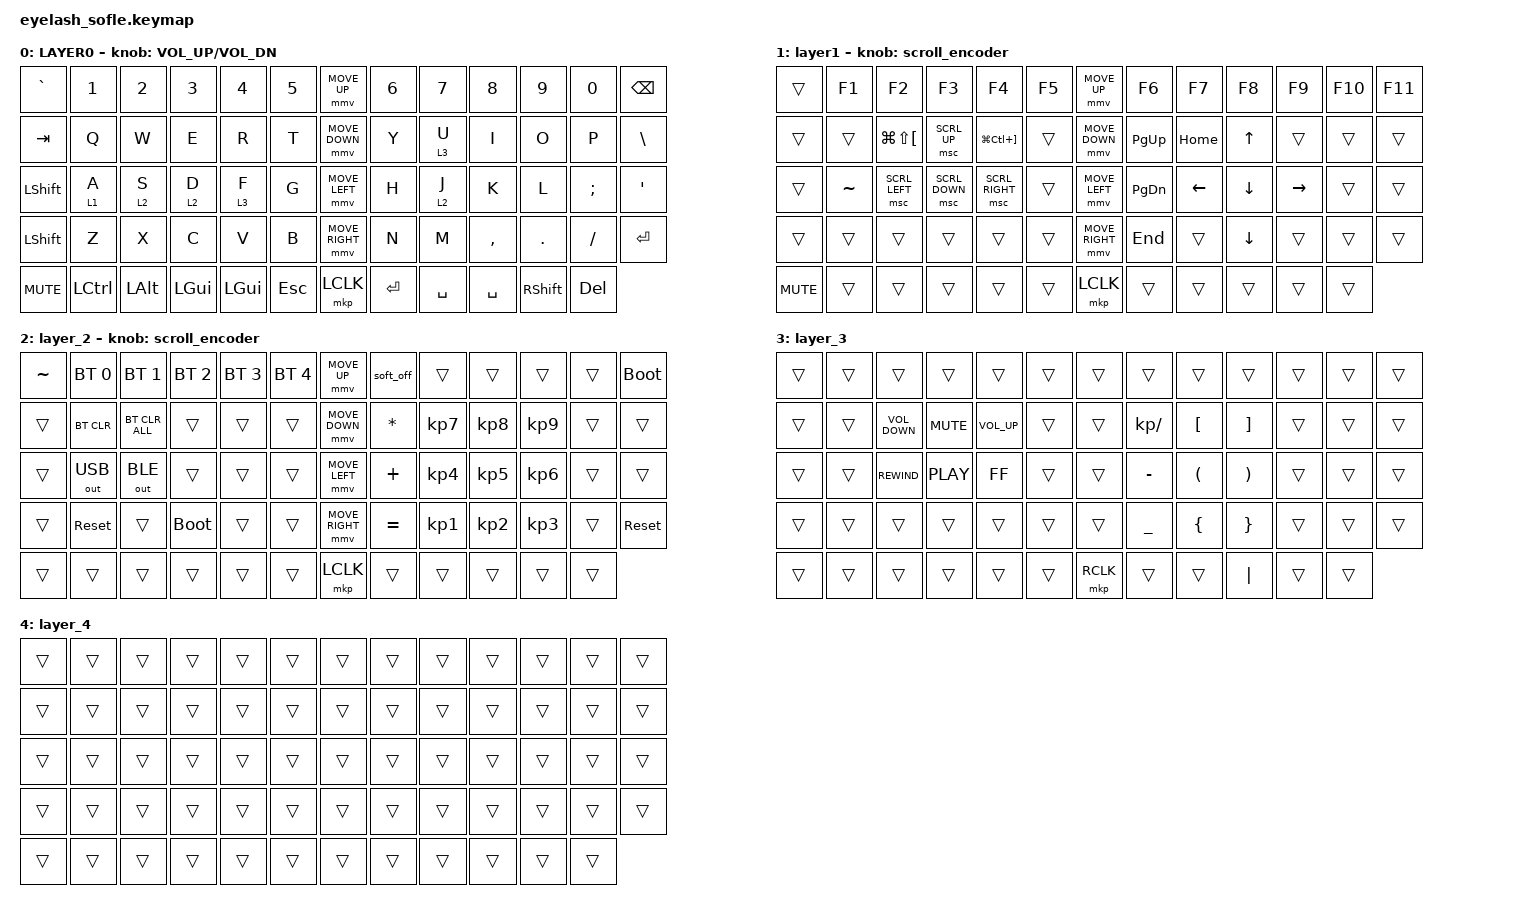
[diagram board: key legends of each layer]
#define ZMK_POINTING_DEFAULT_MOVE_VAL 1200  // 600
#define ZMK_POINTING_DEFAULT_SCRL_VAL 25   // 10

#include <input/processors.dtsi>
#include <zephyr/dt-bindings/input/input-event-codes.h>
#include <behaviors.dtsi>
#include <dt-bindings/zmk/bt.h>
#include <dt-bindings/zmk/keys.h>
#include <dt-bindings/zmk/outputs.h>
#include <dt-bindings/zmk/pointing.h>

&mmv_input_listener { input-processors = <&zip_xy_scaler 2 1>; };

&msc_input_listener { input-processors = <&zip_scroll_scaler 2 1>; };

&msc {
    acceleration-exponent = <1>;      // 0
    time-to-max-speed-ms = <100>;       // 300
    delay-ms = <0>;                   // 0
};

&mmv {
    time-to-max-speed-ms = <500>;
    acceleration-exponent = <1>;
    trigger-period-ms = <16>;
};

/ {
    scroll_encoder: scroll_encoder {
        compatible = "zmk,behavior-sensor-rotate";
        #sensor-binding-cells = <0>;
        bindings = <&msc SCRL_DOWN>, <&msc SCRL_UP>;

        tap-ms = <100>;
    };

    behaviors {
    };

    keymap {
        compatible = "zmk,keymap";

        layer0 {
            bindings = <
&kp GRAVE       &kp N1     &kp N2        &kp N3        &kp N4        &kp N5     &mmv MOVE_UP     &kp N6   &kp N7     &kp N8     &kp N9           &kp N0      &kp BACKSPACE
&kp TAB         &kp Q      &kp W         &kp E         &kp R         &kp T      &mmv MOVE_DOWN   &kp Y    &lt 3 U    &kp I      &kp O            &kp P       &kp BSLH
&kp LEFT_SHIFT  &lt 1 A    &lt 2 S       &lt 2 D       &lt 3 F       &kp G      &mmv MOVE_LEFT   &kp H    &lt 2 J    &kp K      &kp L            &kp SEMI    &kp APOS
&kp LSHFT       &kp Z      &kp X         &kp C         &kp V         &kp B      &mmv MOVE_RIGHT  &kp N    &kp M      &kp COMMA  &kp DOT          &kp FSLH    &kp ENTER
&kp C_MUTE      &kp LCTRL  &kp LEFT_ALT  &kp LEFT_GUI  &kp LEFT_GUI  &kp ESC    &mkp LCLK        &kp RET  &kp SPACE  &kp SPACE  &kp RIGHT_SHIFT  &kp DELETE
            >;

            sensor-bindings = <&inc_dec_kp C_VOLUME_UP C_VOL_DN>;
            display-name = "LAYER0";
        };

        layer_1 {
            bindings = <
&trans      &kp F1     &kp F2            &kp F3          &kp F4                     &kp F5    &mmv MOVE_UP     &kp F6     &kp F7    &kp F8    &kp F9     &kp F10  &kp F11
&trans      &trans     &kp LG(LS(LBKT))  &msc SCRL_UP    &kp LG(LC(RIGHT_BRACKET))  &trans    &mmv MOVE_DOWN   &kp PG_UP  &kp HOME  &kp UP    &trans     &trans   &trans
&trans      &kp TILDE  &msc SCRL_LEFT    &msc SCRL_DOWN  &msc SCRL_RIGHT            &trans    &mmv MOVE_LEFT   &kp PG_DN  &kp LEFT  &kp DOWN  &kp RIGHT  &trans   &trans
&trans      &trans     &trans            &trans          &trans                     &trans    &mmv MOVE_RIGHT  &kp END    &trans    &kp DOWN  &trans     &trans   &trans
&kp C_MUTE  &trans     &trans            &trans          &trans                     &trans    &mkp LCLK        &trans     &trans    &trans    &trans     &trans
            >;

            display-name = "layer1";
            sensor-bindings = <&scroll_encoder>;
        };

        layer_2 {
            bindings = <
&kp TILDE  &bt BT_SEL 0  &bt BT_SEL 1    &bt BT_SEL 2  &bt BT_SEL 3  &bt BT_SEL 4    &mmv MOVE_UP     &soft_off     &trans           &trans           &trans           &trans  &bootloader
&trans     &bt BT_CLR    &bt BT_CLR_ALL  &trans        &trans        &trans          &mmv MOVE_DOWN   &kp ASTERISK  &kp KP_NUMBER_7  &kp KP_NUMBER_8  &kp KP_NUMBER_9  &trans  &trans
&trans     &out OUT_USB  &out OUT_BLE    &trans        &trans        &trans          &mmv MOVE_LEFT   &kp PLUS      &kp KP_NUMBER_4  &kp KP_NUMBER_5  &kp KP_NUMBER_6  &trans  &trans
&trans     &sys_reset    &trans          &bootloader   &trans        &trans          &mmv MOVE_RIGHT  &kp EQUAL     &kp KP_NUMBER_1  &kp KP_NUMBER_2  &kp KP_NUMBER_3  &trans  &sys_reset
&trans     &trans        &trans          &trans        &trans        &trans          &mkp LCLK        &trans        &trans           &trans           &trans           &trans
            >;

            sensor-bindings = <&scroll_encoder>;
        };

        layer_3 {
            bindings = <
&trans  &trans  &trans             &trans      &trans           &trans    &trans     &trans          &trans                &trans                 &trans  &trans  &trans
&trans  &trans  &kp K_VOLUME_DOWN  &kp C_MUTE  &kp C_VOLUME_UP  &trans    &trans     &kp KP_DIVIDE   &kp LEFT_BRACKET      &kp RIGHT_BRACKET      &trans  &trans  &trans
&trans  &trans  &kp C_REWIND       &kp C_PLAY  &kp C_FF         &trans    &trans     &kp MINUS       &kp LEFT_PARENTHESIS  &kp RIGHT_PARENTHESIS  &trans  &trans  &trans
&trans  &trans  &trans             &trans      &trans           &trans    &trans     &kp UNDERSCORE  &kp LEFT_BRACE        &kp RIGHT_BRACE        &trans  &trans  &trans
&trans  &trans  &trans             &trans      &trans           &trans    &mkp RCLK  &trans          &trans                &kp PIPE               &trans  &trans
            >;
        };

        layer_4 {
            bindings = <
&trans  &trans  &trans  &trans  &trans  &trans    &trans  &trans  &trans  &trans  &trans  &trans  &trans
&trans  &trans  &trans  &trans  &trans  &trans    &trans  &trans  &trans  &trans  &trans  &trans  &trans
&trans  &trans  &trans  &trans  &trans  &trans    &trans  &trans  &trans  &trans  &trans  &trans  &trans
&trans  &trans  &trans  &trans  &trans  &trans    &trans  &trans  &trans  &trans  &trans  &trans  &trans
&trans  &trans  &trans  &trans  &trans  &trans    &trans  &trans  &trans  &trans  &trans  &trans
            >;
        };
    };
};
